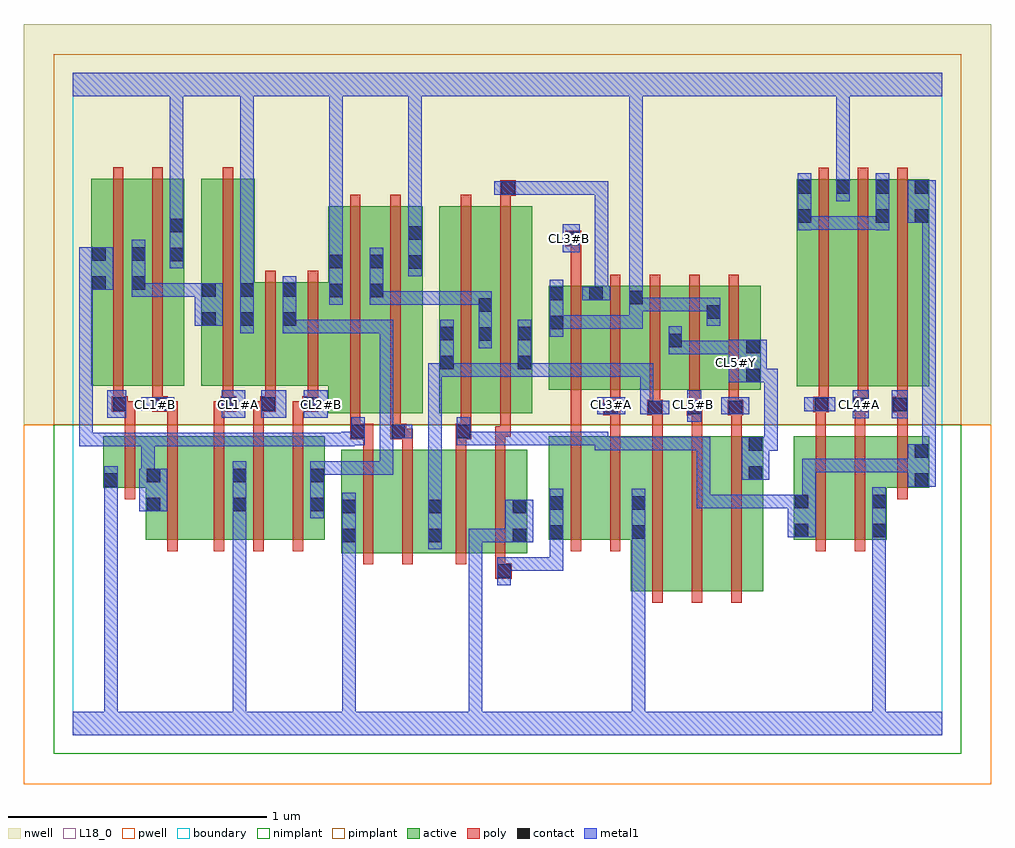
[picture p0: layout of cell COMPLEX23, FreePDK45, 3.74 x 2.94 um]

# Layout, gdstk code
import gdstk
lib = gdstk.Library(unit=1e-6, precision=1e-09)
def R(c, l, rs):  # rectangles x0, y0, x1, y1
    for r in rs: c.add(gdstk.rectangle(r[:2], r[2:], *l))
def A(c, l, x, y, w, h, nx, ny, dx, dy):  # array of equal rectangles
    R(c, l, [(x+i*dx, y+j*dy, x+i*dx+w, y+j*dy+h) for i in range(nx) for j in range(ny)])
active = (1, 0)
pwell = (2, 0)
nwell = (3, 0)
nimplant = (4, 0)
pimplant = (5, 0)
poly = (9, 0)
contact = (10, 0)
metal1 = (11, 0)
L18_0 = (18, 0)
boundary = (235, 0)

complex23 = lib.new_cell('COMPLEX23')
R(complex23, active, [(2.156,0.556,2.336,1.156), (2.156,0.556,2.216,0.928), (2.336,0.556,2.488,1.156), (2.488,0.556,2.668,1.156), (2.608,0.556,2.668,1.156), (1.038,0.704,1.218,1.104), (1.038,0.704,1.098,1.104), (1.218,0.704,1.43,1.104), (1.37,0.704,1.43,1.104), (1.37,0.704,1.576,1.104), (1.576,0.704,1.756,1.104), (1.696,0.742,1.756,1.104), (0.282,0.756,0.462,1.156), (0.462,0.756,0.674,1.156), (0.614,0.756,0.794,1.156), (0.614,0.756,0.674,1.156), (0.794,0.756,0.974,1.156), (0.914,0.756,0.974,1.156), (1.84,0.756,2.02,1.156), (1.84,0.756,1.9,1.156), (2.02,0.756,2.216,1.156), (2.786,0.756,2.966,1.156), (2.786,0.756,2.846,1.156), (2.966,0.756,3.146,1.156), (3.086,0.762,3.146,0.956), (0.282,0.862,0.342,1.156), (0.118,0.956,0.178,1.156), (0.118,0.956,0.342,1.156), (3.086,0.956,3.31,1.156), (3.25,0.956,3.31,1.156), (0.988,1.244,1.204,2.044), (1.144,1.244,1.352,2.044), (1.416,1.244,1.476,2.044), (1.416,1.244,1.624,2.044), (1.564,1.244,1.624,2.044), (1.564,1.244,1.776,2.044), (1.716,1.244,1.776,2.044), (1.84,1.336,1.9,1.736), (1.84,1.336,2.052,1.736), (1.992,1.336,2.052,1.736), (1.992,1.336,2.206,1.736), (2.146,1.336,2.206,1.736), (2.146,1.336,2.358,1.736), (2.298,1.336,2.358,1.644), (2.298,1.336,2.506,1.736), (2.446,1.336,2.658,1.736), (2.598,1.336,2.658,1.644), (2.798,1.348,2.858,2.148), (2.798,1.348,3.006,2.148), (2.946,1.348,3.158,2.148), (3.098,1.348,3.31,2.148), (3.25,1.348,3.31,2.148), (0.072,1.35,0.284,2.15), (0.072,1.35,0.132,2.044), (0.224,1.35,0.432,2.15), (0.372,1.35,0.432,2.044), (0.496,1.35,0.704,2.15), (0.496,1.35,0.556,2.044), (0.644,1.35,0.868,1.75), (0.808,1.35,0.868,1.75), (0.808,1.35,1.048,1.75), (1.292,1.452,1.352,2.044), (0.644,1.578,0.704,1.75), (2.446,1.606,2.506,1.666), (0.224,1.686,0.284,2.044), (1.144,1.686,1.204,2.044), (2.946,1.686,3.006,2.148), (3.098,1.686,3.158,2.148), (0.988,1.688,1.048,1.86)])
R(complex23, pwell, [(-0.188,-0.188,3.548,1.2)])
R(complex23, nwell, [(-0.188,1.2,3.548,2.748)])
R(complex23, nimplant, [(-0.072,-0.072,3.432,1.2)])
R(complex23, pimplant, [(-0.072,1.2,3.432,2.632)])
A(complex23, poly, 2.24, 0.512, 0.04, 0.688, 3, 1, 0.152, 0)
A(complex23, poly, 0.546, 0.712, 0.04, 0.488, 3, 1, 0.152, 0)
A(complex23, poly, 0.546, 1.16, 0.04, 0.13, 3, 1, 0.152, 0)
A(complex23, poly, 2.24, 1.16, 0.04, 0.116, 3, 1, 0.152, 0)
A(complex23, poly, 2.862, 1.248, 0.06, 0.06, 3, 1, 0.152, 0)
A(complex23, poly, 2.23, 1.256, 0.04, 0.076, 3, 1, 0.152, 0)
A(complex23, poly, 2.882, 1.268, 0.04, 0.076, 3, 1, 0.152, 0)
A(complex23, poly, 0.58, 1.27, 0.04, 0.076, 3, 1, 0.164, 0)
A(complex23, poly, 2.23, 1.292, 0.04, 0.488, 3, 1, 0.152, 0)
A(complex23, poly, 2.882, 1.304, 0.04, 0.888, 3, 1, 0.152, 0)
R(complex23, poly, [(1.632,0.604,1.696,0.664), (1.632,0.624,1.672,0.7), (1.122,0.66,1.162,1.148), (1.274,0.66,1.314,1.148), (1.48,0.66,1.52,1.148), (1.632,0.66,1.672,1.148), (0.366,0.712,0.406,1.2), (1.924,0.712,1.964,1.2), (2.076,0.712,2.116,1.2), (2.87,0.712,2.91,1.2), (3.022,0.712,3.062,1.2), (0.202,0.912,0.242,1.2), (3.186,0.912,3.226,1.2), (1.122,1.108,1.162,1.184), (1.274,1.108,1.314,1.184), (1.48,1.108,1.52,1.184), (1.632,1.108,1.672,1.194), (1.072,1.144,1.162,1.204), (1.228,1.144,1.288,1.204), (1.248,1.144,1.288,1.184), (1.248,1.144,1.314,1.184), (1.48,1.144,1.54,1.204), (1.632,1.154,1.672,1.194), (1.632,1.154,1.672,1.194), (1.632,1.154,1.692,1.194), (1.652,1.154,1.692,1.24), (0.202,1.16,0.242,1.29), (0.366,1.16,0.406,1.29), (1.924,1.16,1.964,1.288), (2.076,1.16,2.116,1.276), (2.87,1.16,2.91,1.288), (3.022,1.16,3.062,1.288), (3.186,1.16,3.226,1.288), (1.072,1.164,1.112,1.24), (1.072,1.164,1.112,1.204), (1.072,1.164,1.112,1.204), (1.228,1.164,1.268,1.24), (1.5,1.164,1.54,1.24), (1.5,1.164,1.54,1.204), (1.5,1.164,1.54,1.204), (1.072,1.2,1.112,2.088), (1.228,1.2,1.268,2.088), (1.5,1.2,1.54,2.088), (1.652,1.2,1.692,2.088), (2.05,1.236,2.116,1.296), (2.076,1.236,2.116,1.276), (2.076,1.236,2.116,1.276), (2.22,1.236,2.28,1.296), (2.24,1.236,2.28,1.276), (2.24,1.236,2.28,1.276), (2.372,1.236,2.432,1.296), (2.392,1.236,2.432,1.276), (2.392,1.236,2.432,1.276), (2.53,1.236,2.59,1.296), (2.544,1.236,2.584,1.276), (2.544,1.236,2.584,1.276), (1.924,1.248,1.964,1.288), (1.924,1.248,1.964,1.288), (1.924,1.248,1.964,1.288), (1.924,1.248,1.964,1.332), (2.87,1.248,2.91,1.288), (2.87,1.248,2.91,1.288), (3.022,1.248,3.062,1.288), (3.022,1.248,3.062,1.288), (3.186,1.248,3.226,1.288), (3.186,1.248,3.226,1.288), (0.152,1.25,0.212,1.31), (0.172,1.25,0.212,1.29), (0.172,1.25,0.242,1.29), (0.308,1.25,0.368,1.31), (0.328,1.25,0.368,1.29), (0.328,1.25,0.406,1.29), (0.546,1.25,0.612,1.29), (0.572,1.25,0.612,1.29), (0.572,1.25,0.632,1.31), (0.698,1.25,0.764,1.29), (0.724,1.25,0.764,1.29), (0.724,1.25,0.784,1.31), (0.85,1.25,0.928,1.29), (0.888,1.25,0.928,1.29), (0.888,1.25,0.948,1.31), (2.076,1.256,2.116,1.332), (0.156,1.27,0.196,1.346), (0.308,1.27,0.348,1.346), (1.924,1.292,1.964,1.78), (2.076,1.292,2.116,1.78), (0.156,1.306,0.196,2.194), (0.308,1.306,0.348,2.194), (0.58,1.306,0.62,2.194), (0.744,1.306,0.784,1.794), (0.908,1.306,0.948,1.794), (1.924,1.74,1.964,1.93), (1.904,1.89,1.964,1.95), (1.652,2.048,1.692,2.124), (1.652,2.084,1.712,2.144)])
A(complex23, contact, 2.866, 1.252, 0.052, 0.052, 3, 1, 0.152, 0)
A(complex23, contact, 2.95, 2.092, 0.052, 0.052, 3, 1, 0.152, 0)
R(complex23, contact, [(1.64,0.608,1.692,0.66), (1.042,0.746,1.094,0.798), (1.374,0.746,1.426,0.798), (1.7,0.746,1.752,0.798), (1.844,0.76,1.896,0.812), (2.16,0.76,2.212,0.812), (2.79,0.766,2.842,0.818), (3.09,0.766,3.142,0.818), (1.042,0.858,1.094,0.91), (1.374,0.858,1.426,0.91), (1.7,0.858,1.752,0.91), (0.286,0.866,0.338,0.918), (0.618,0.866,0.67,0.918), (0.918,0.866,0.97,0.918), (1.844,0.872,1.896,0.924), (2.16,0.872,2.212,0.924), (2.79,0.878,2.842,0.93), (3.09,0.878,3.142,0.93), (0.122,0.96,0.174,1.012), (3.254,0.96,3.306,1.012), (0.286,0.978,0.338,1.03), (0.618,0.978,0.67,1.03), (0.918,0.978,0.97,1.03), (2.612,0.988,2.664,1.04), (3.254,1.072,3.306,1.124), (2.612,1.1,2.664,1.152), (1.076,1.148,1.128,1.2), (1.232,1.148,1.284,1.2), (1.484,1.148,1.536,1.2), (2.054,1.24,2.106,1.292), (2.224,1.24,2.276,1.292), (2.376,1.24,2.428,1.292), (2.534,1.24,2.586,1.292), (0.156,1.254,0.208,1.306), (0.312,1.254,0.364,1.306), (0.576,1.254,0.628,1.306), (0.728,1.254,0.78,1.306), (0.892,1.254,0.944,1.306), (2.602,1.364,2.654,1.416), (1.42,1.414,1.472,1.466), (1.72,1.414,1.772,1.466), (2.602,1.476,2.654,1.528), (2.302,1.5,2.354,1.552), (1.568,1.524,1.62,1.576), (1.42,1.526,1.472,1.578), (1.72,1.526,1.772,1.578), (1.844,1.568,1.896,1.62), (0.5,1.582,0.552,1.634), (0.648,1.582,0.7,1.634), (0.812,1.582,0.864,1.634), (2.45,1.61,2.502,1.662), (1.568,1.636,1.62,1.688), (2.15,1.666,2.202,1.718), (1.844,1.68,1.896,1.732), (1.996,1.68,2.048,1.732), (0.992,1.692,1.044,1.744), (1.148,1.692,1.2,1.744), (0.5,1.694,0.552,1.746), (0.648,1.694,0.7,1.746), (0.812,1.694,0.864,1.746), (0.076,1.722,0.128,1.774), (0.228,1.722,0.28,1.774), (1.296,1.802,1.348,1.854), (0.992,1.804,1.044,1.856), (1.148,1.804,1.2,1.856), (0.376,1.832,0.428,1.884), (0.076,1.834,0.128,1.886), (0.228,1.834,0.28,1.886), (1.908,1.894,1.96,1.946), (1.296,1.914,1.348,1.966), (0.376,1.944,0.428,1.996), (2.802,1.98,2.854,2.032), (3.102,1.98,3.154,2.032), (3.254,1.98,3.306,2.032), (1.656,2.088,1.708,2.14), (2.802,2.092,2.854,2.144)])
A(complex23, metal1, 0.588, 1.116, 0.052, 0.052, 3, 1, 0.11, 0)
A(complex23, metal1, 0.966, 1.554, 0.052, 0.052, 3, 1, 0.11, 0)
R(complex23, metal1, [(0,0,3.36,0.092), (0.122,0.04,0.174,0.092), (0.122,0.04,0.174,0.092), (0.122,0.04,0.174,0.092), (0.122,0.04,0.174,0.092), (0.122,0.04,0.174,0.092), (0.122,0.04,0.174,0.092), (0.122,0.04,0.174,0.092), (0.122,0.04,0.174,0.092), (0.122,0.04,0.174,0.092), (0.122,0.04,0.174,0.092), (0.122,0.04,0.174,0.092), (0.122,0.04,0.174,0.092), (0.122,0.04,0.174,0.092), (0.122,0.04,0.174,0.092), (0.122,0.04,0.174,0.984), (0.618,0.04,0.67,0.092), (0.618,0.04,0.67,0.092), (0.618,0.04,0.67,0.092), (0.618,0.04,0.67,0.092), (0.618,0.04,0.67,0.092), (0.618,0.04,0.67,0.092), (0.618,0.04,0.67,0.092), (0.618,0.04,0.67,0.092), (0.618,0.04,0.67,0.092), (0.618,0.04,0.67,0.092), (0.618,0.04,0.67,0.89), (1.042,0.04,1.094,0.092), (1.042,0.04,1.094,0.092), (1.042,0.04,1.094,0.092), (1.042,0.04,1.094,0.092), (1.042,0.04,1.094,0.092), (1.042,0.04,1.094,0.092), (1.042,0.04,1.094,0.092), (1.042,0.04,1.094,0.092), (1.042,0.04,1.094,0.77), (1.53,0.04,1.582,0.092), (1.53,0.04,1.582,0.092), (1.53,0.04,1.582,0.092), (1.53,0.04,1.582,0.092), (1.53,0.04,1.582,0.092), (1.53,0.04,1.582,0.092), (1.53,0.04,1.582,0.092), (1.53,0.04,1.582,0.092), (1.53,0.04,1.582,0.798), (2.16,0.04,2.212,0.092), (2.16,0.04,2.212,0.092), (2.16,0.04,2.212,0.092), (2.16,0.04,2.212,0.092), (2.16,0.04,2.212,0.784), (3.09,0.04,3.142,0.092), (3.09,0.04,3.142,0.092), (3.09,0.04,3.142,0.092), (3.09,0.04,3.142,0.092), (3.09,0.04,3.142,0.092), (3.09,0.04,3.142,0.092), (3.09,0.04,3.142,0.092), (3.09,0.04,3.142,0.092), (3.09,0.04,3.142,0.092), (3.09,0.04,3.142,0.092), (3.09,0.04,3.142,0.092), (3.09,0.04,3.142,0.092), (3.09,0.04,3.142,0.79), (1.64,0.58,1.692,0.688), (1.64,0.636,1.692,0.688), (1.64,0.636,1.692,0.688), (1.64,0.636,1.896,0.688), (1.844,0.636,1.896,0.688), (1.844,0.636,1.896,0.784), (1.042,0.718,1.094,0.77), (1.042,0.718,1.094,0.77), (1.042,0.718,1.094,0.77), (1.042,0.718,1.094,0.77), (1.042,0.718,1.094,0.938), (1.374,0.718,1.426,0.938), (1.844,0.732,1.896,0.952), (2.16,0.732,2.212,0.784), (2.16,0.732,2.212,0.784), (2.16,0.732,2.212,0.784), (2.16,0.732,2.212,0.784), (2.16,0.732,2.212,0.952), (3.09,0.738,3.142,0.958), (1.53,0.746,1.582,0.798), (1.53,0.746,1.582,0.798), (1.53,0.746,1.582,0.798), (1.53,0.746,1.582,0.798), (1.53,0.746,1.582,0.798), (1.53,0.746,1.724,0.798), (1.672,0.746,1.78,0.91), (1.672,0.746,1.724,0.798), (1.672,0.746,1.724,0.798), (2.762,0.766,2.87,0.93), (0.618,0.838,0.67,0.89), (0.618,0.838,0.67,0.89), (0.618,0.838,0.67,1.058), (0.918,0.838,0.97,1.058), (0.258,0.866,0.366,1.03), (2.412,0.878,2.464,0.93), (2.412,0.878,2.464,0.93), (2.412,0.878,2.464,0.93), (2.412,0.878,2.744,0.93), (2.412,0.878,2.464,1.154), (2.692,0.878,2.744,0.93), (2.692,0.878,2.814,0.93), (2.818,0.878,2.87,1.068), (1.374,0.886,1.426,1.438), (0.122,0.932,0.174,0.984), (0.122,0.932,0.174,0.984), (0.122,0.932,0.174,1.04), (3.226,0.96,3.334,1.124), (0.266,0.978,0.318,1.168), (2.584,0.988,2.692,1.152), (0.918,1.006,0.974,1.058), (0.922,1.006,0.974,1.058), (0.922,1.006,1.128,1.058), (1.076,1.006,1.128,1.058), (1.076,1.006,1.238,1.058), (1.186,1.006,1.238,1.058), (1.186,1.006,1.238,1.2), (2.818,1.016,2.87,1.068), (2.818,1.016,2.87,1.068), (2.818,1.016,2.87,1.068), (2.818,1.016,3.032,1.068), (2.98,1.016,3.032,1.068), (2.98,1.016,3.032,1.068), (2.98,1.016,3.032,1.068), (2.98,1.016,3.142,1.068), (3.09,1.016,3.142,1.068), (3.09,1.016,3.142,1.068), (3.09,1.016,3.142,1.068), (3.09,1.016,3.278,1.068), (3.282,1.072,3.334,2.032), (3.282,1.072,3.334,1.124), (3.282,1.072,3.334,1.124), (3.282,1.072,3.334,1.124), (3.282,1.072,3.334,1.124), (2.64,1.1,2.692,1.152), (2.64,1.1,2.724,1.152), (2.672,1.1,2.724,1.152), (2.672,1.1,2.724,1.152), (2.672,1.1,2.724,1.416), (2.018,1.102,2.07,1.154), (2.018,1.102,2.07,1.154), (2.018,1.102,2.07,1.154), (2.018,1.102,2.244,1.154), (2.018,1.102,2.07,1.172), (2.192,1.102,2.244,1.154), (2.192,1.102,2.244,1.154), (2.192,1.102,2.244,1.154), (2.192,1.102,2.354,1.154), (2.302,1.102,2.354,1.154), (2.302,1.102,2.354,1.154), (2.302,1.102,2.354,1.154), (2.302,1.102,2.464,1.154), (2.412,1.102,2.464,1.154), (0.026,1.116,0.078,1.168), (0.026,1.116,0.078,1.168), (0.026,1.116,0.078,1.168), (0.026,1.116,0.318,1.168), (0.026,1.116,0.078,1.774), (0.266,1.116,0.318,1.168), (0.266,1.116,0.318,1.168), (0.266,1.116,0.318,1.168), (0.266,1.116,0.444,1.168), (0.392,1.116,0.444,1.168), (0.392,1.116,0.444,1.168), (0.392,1.116,0.444,1.168), (0.392,1.116,0.64,1.168), (0.588,1.116,0.64,1.168), (0.588,1.116,0.64,1.168), (0.588,1.116,0.75,1.168), (0.698,1.116,0.86,1.168), (0.808,1.116,0.86,1.168), (0.808,1.116,0.86,1.168), (0.808,1.116,1.018,1.168), (0.966,1.116,1.018,1.168), (0.966,1.116,1.09,1.168), (1.038,1.116,1.09,1.172), (1.038,1.12,1.128,1.172), (1.076,1.12,1.128,1.228), (1.484,1.12,1.536,1.228), (1.484,1.12,1.582,1.172), (1.53,1.12,1.582,1.172), (1.53,1.12,1.78,1.172), (1.728,1.12,1.78,1.172), (1.728,1.12,1.78,1.172), (1.728,1.12,1.78,1.172), (1.728,1.12,1.89,1.172), (1.838,1.12,1.89,1.172), (1.838,1.12,1.89,1.172), (1.838,1.12,1.89,1.172), (1.838,1.12,2.07,1.172), (2.018,1.12,2.07,1.172), (1.186,1.148,1.238,1.2), (1.186,1.148,1.238,1.2), (1.186,1.148,1.238,1.2), (1.186,1.148,1.256,1.2), (1.186,1.148,1.238,1.606), (1.204,1.148,1.312,1.2), (2.374,1.212,2.428,1.334), (3.014,1.224,3.076,1.334), (3.164,1.224,3.226,1.334), (0.134,1.226,0.208,1.334), (0.576,1.226,0.666,1.334), (0.728,1.226,0.826,1.334), (0.892,1.226,0.986,1.334), (2.026,1.24,2.134,1.306), (2.192,1.24,2.244,1.292), (2.192,1.24,2.248,1.292), (2.192,1.24,2.244,1.438), (2.196,1.24,2.304,1.292), (2.506,1.24,2.614,1.306), (2.826,1.252,2.946,1.306), (0.266,1.254,0.392,1.306), (2.534,1.364,2.682,1.528), (2.63,1.364,2.682,1.416), (2.63,1.364,2.724,1.416), (1.374,1.386,1.426,1.438), (1.374,1.386,1.426,1.438), (1.374,1.386,1.472,1.438), (1.42,1.386,1.472,1.438), (1.42,1.386,1.472,1.438), (1.42,1.386,1.472,1.438), (1.42,1.386,1.472,1.606), (1.42,1.386,1.582,1.438), (1.53,1.386,1.582,1.438), (1.53,1.386,1.772,1.438), (1.72,1.386,1.772,1.438), (1.72,1.386,1.772,1.438), (1.72,1.386,1.772,1.606), (1.72,1.386,1.91,1.438), (1.858,1.386,1.91,1.438), (1.858,1.386,1.91,1.438), (1.858,1.386,1.91,1.438), (1.858,1.386,2.092,1.438), (2.04,1.386,2.092,1.438), (2.04,1.386,2.092,1.438), (2.04,1.386,2.092,1.438), (2.04,1.386,2.244,1.438), (2.192,1.386,2.244,1.438), (2.302,1.472,2.354,1.524), (2.302,1.472,2.354,1.524), (2.302,1.472,2.476,1.524), (2.302,1.472,2.354,1.58), (2.424,1.472,2.476,1.524), (2.424,1.472,2.476,1.524), (2.424,1.472,2.476,1.524), (2.424,1.472,2.586,1.524), (1.568,1.496,1.62,1.716), (1.844,1.54,1.896,1.76), (0.648,1.554,0.7,1.774), (0.812,1.554,0.864,1.606), (0.812,1.554,0.864,1.606), (0.812,1.554,0.864,1.774), (0.812,1.554,1.018,1.606), (0.966,1.554,1.018,1.606), (0.966,1.554,1.018,1.606), (0.966,1.554,1.128,1.606), (1.076,1.554,1.238,1.606), (1.844,1.57,1.896,1.622), (1.844,1.57,1.896,1.622), (1.844,1.57,2.092,1.622), (2.04,1.57,2.092,1.622), (2.04,1.57,2.092,1.622), (2.04,1.57,2.092,1.622), (2.04,1.57,2.202,1.622), (2.15,1.57,2.202,1.69), (0.472,1.582,0.58,1.746), (2.45,1.582,2.502,1.69), (2.15,1.638,2.202,1.69), (2.15,1.638,2.202,1.746), (2.15,1.638,2.244,1.69), (2.192,1.638,2.244,1.69), (2.192,1.638,2.354,1.69), (2.302,1.638,2.354,1.69), (2.302,1.638,2.354,1.69), (2.302,1.638,2.354,1.69), (2.302,1.638,2.502,1.69), (0.992,1.664,1.044,1.884), (1.148,1.664,1.2,1.884), (1.148,1.664,1.268,1.716), (1.216,1.664,1.268,1.716), (1.216,1.664,1.348,1.716), (1.296,1.664,1.348,1.716), (1.296,1.664,1.472,1.716), (1.42,1.664,1.472,1.716), (1.42,1.664,1.472,1.716), (1.42,1.664,1.472,1.716), (1.42,1.664,1.62,1.716), (1.968,1.68,2.076,1.732), (2.018,1.68,2.07,2.14), (0.228,1.694,0.28,1.746), (0.228,1.694,0.28,1.746), (0.228,1.694,0.28,1.914), (0.228,1.694,0.518,1.746), (0.466,1.694,0.518,1.746), (0.466,1.694,0.524,1.746), (2.15,1.694,2.202,1.746), (2.15,1.694,2.202,1.746), (2.15,1.694,2.202,1.746), (2.15,1.694,2.202,1.746), (2.15,1.694,2.202,1.746), (2.15,1.694,2.202,1.746), (2.15,1.694,2.202,1.746), (2.15,1.694,2.202,1.746), (2.15,1.694,2.202,2.52), (0.026,1.722,0.078,1.774), (0.026,1.722,0.078,1.774), (0.026,1.722,0.156,1.886), (0.648,1.722,0.7,1.774), (0.648,1.722,0.7,1.774), (0.648,1.722,0.7,2.52), (1.296,1.774,1.348,1.994), (0.376,1.804,0.428,2.024), (0.992,1.832,1.044,1.884), (0.992,1.832,1.044,1.884), (0.992,1.832,1.044,2.52), (1.894,1.866,1.96,1.974), (1.296,1.942,1.348,2.52), (2.802,1.952,2.854,2.172), (3.102,1.952,3.154,2.172), (2.802,1.954,2.854,2.006), (2.802,1.954,2.854,2.006), (2.802,1.954,3.032,2.006), (2.98,1.954,3.032,2.006), (2.98,1.954,3.032,2.006), (2.98,1.954,3.032,2.006), (2.98,1.954,3.154,2.006), (0.376,1.972,0.428,2.024), (0.376,1.972,0.428,2.024), (0.376,1.972,0.428,2.024), (0.376,1.972,0.428,2.024), (0.376,1.972,0.428,2.52), (3.226,1.98,3.334,2.144), (2.95,2.064,3.002,2.172), (1.628,2.088,1.736,2.14), (1.684,2.088,1.736,2.14), (1.684,2.088,1.736,2.14), (1.684,2.088,1.736,2.14), (1.684,2.088,1.736,2.14), (1.684,2.088,1.89,2.14), (1.838,2.088,1.89,2.14), (1.838,2.088,1.89,2.14), (1.838,2.088,1.89,2.14), (1.838,2.088,2.07,2.14), (2.018,2.088,2.07,2.14), (2.018,2.088,2.07,2.14), (2.018,2.088,2.07,2.14), (2.018,2.088,2.07,2.14), (2.018,2.088,2.07,2.14), (2.018,2.088,2.07,2.14), (2.018,2.088,2.07,2.14), (2.95,2.12,3.002,2.52), (0,2.468,3.36,2.56), (0.376,2.468,0.428,2.52), (0.376,2.468,0.428,2.52), (0.376,2.468,0.428,2.52), (0.376,2.468,0.428,2.52), (0.648,2.468,0.7,2.52), (0.648,2.468,0.7,2.52), (0.648,2.468,0.7,2.52), (0.648,2.468,0.7,2.52), (0.648,2.468,0.7,2.52), (0.648,2.468,0.7,2.52), (0.992,2.468,1.044,2.52), (0.992,2.468,1.044,2.52), (0.992,2.468,1.044,2.52), (0.992,2.468,1.044,2.52), (0.992,2.468,1.044,2.52), (0.992,2.468,1.044,2.52), (1.296,2.468,1.348,2.52), (1.296,2.468,1.348,2.52), (1.296,2.468,1.348,2.52), (1.296,2.468,1.348,2.52), (1.296,2.468,1.348,2.52), (1.296,2.468,1.348,2.52), (1.296,2.468,1.348,2.52), (1.296,2.468,1.348,2.52), (2.15,2.468,2.202,2.52), (2.15,2.468,2.202,2.52), (2.15,2.468,2.202,2.52), (2.15,2.468,2.202,2.52), (2.15,2.468,2.202,2.52), (2.15,2.468,2.202,2.52), (2.15,2.468,2.202,2.52), (2.15,2.468,2.202,2.52), (2.95,2.468,3.002,2.52), (2.95,2.468,3.002,2.52), (2.95,2.468,3.002,2.52), (2.95,2.468,3.002,2.52), (2.95,2.468,3.002,2.52), (2.95,2.468,3.002,2.52), (2.95,2.468,3.002,2.52), (2.95,2.468,3.002,2.52)])
A(complex23, L18_0, 0.614, 1.254, 0.052, 0.052, 3, 1, 0.16, 0)
A(complex23, L18_0, 2.854, 1.254, 0.052, 0.052, 3, 1, 0.16, 0)
R(complex23, L18_0, [(0,0,3.36,0.092), (0.122,0.04,0.174,0.092), (0.122,0.04,0.174,0.092), (0.122,0.04,0.174,0.092), (0.122,0.04,0.174,0.092), (0.122,0.04,0.174,0.092), (0.122,0.04,0.174,0.092), (0.122,0.04,0.174,0.092), (0.122,0.04,0.174,0.092), (0.122,0.04,0.174,0.092), (0.122,0.04,0.174,0.092), (0.122,0.04,0.174,0.092), (0.122,0.04,0.174,0.092), (0.122,0.04,0.174,0.092), (0.122,0.04,0.174,0.092), (0.122,0.04,0.174,0.984), (0.618,0.04,0.67,0.092), (0.618,0.04,0.67,0.092), (0.618,0.04,0.67,0.092), (0.618,0.04,0.67,0.092), (0.618,0.04,0.67,0.092), (0.618,0.04,0.67,0.092), (0.618,0.04,0.67,0.092), (0.618,0.04,0.67,0.092), (0.618,0.04,0.67,0.092), (0.618,0.04,0.67,0.092), (0.618,0.04,0.67,0.89), (1.042,0.04,1.094,0.092), (1.042,0.04,1.094,0.092), (1.042,0.04,1.094,0.092), (1.042,0.04,1.094,0.092), (1.042,0.04,1.094,0.092), (1.042,0.04,1.094,0.092), (1.042,0.04,1.094,0.092), (1.042,0.04,1.094,0.092), (1.042,0.04,1.094,0.77), (1.53,0.04,1.582,0.092), (1.53,0.04,1.582,0.092), (1.53,0.04,1.582,0.092), (1.53,0.04,1.582,0.092), (1.53,0.04,1.582,0.092), (1.53,0.04,1.582,0.092), (1.53,0.04,1.582,0.092), (1.53,0.04,1.582,0.092), (1.53,0.04,1.582,0.798), (2.16,0.04,2.212,0.092), (2.16,0.04,2.212,0.092), (2.16,0.04,2.212,0.092), (2.16,0.04,2.212,0.092), (2.16,0.04,2.212,0.784), (3.09,0.04,3.142,0.092), (3.09,0.04,3.142,0.092), (3.09,0.04,3.142,0.092), (3.09,0.04,3.142,0.092), (3.09,0.04,3.142,0.092), (3.09,0.04,3.142,0.092), (3.09,0.04,3.142,0.092), (3.09,0.04,3.142,0.092), (3.09,0.04,3.142,0.092), (3.09,0.04,3.142,0.092), (3.09,0.04,3.142,0.092), (3.09,0.04,3.142,0.092), (3.09,0.04,3.142,0.79), (1.042,0.718,1.094,0.77), (1.042,0.718,1.094,0.77), (1.042,0.718,1.094,0.77), (1.042,0.718,1.094,0.77), (1.042,0.718,1.094,0.938), (2.16,0.732,2.212,0.784), (2.16,0.732,2.212,0.784), (2.16,0.732,2.212,0.784), (2.16,0.732,2.212,0.784), (2.16,0.732,2.212,0.952), (3.09,0.738,3.142,0.958), (1.53,0.746,1.582,0.798), (1.53,0.746,1.582,0.798), (1.53,0.746,1.582,0.798), (1.53,0.746,1.582,0.798), (1.53,0.746,1.582,0.798), (1.53,0.746,1.724,0.798), (1.672,0.746,1.724,0.798), (1.672,0.746,1.724,0.798), (1.672,0.746,1.78,0.91), (0.618,0.838,0.67,0.89), (0.618,0.838,0.67,0.89), (0.618,0.838,0.67,1.058), (0.122,0.932,0.174,0.984), (0.122,0.932,0.174,0.984), (0.122,0.932,0.174,1.04), (2.584,0.988,2.692,1.152), (2.64,1.1,2.692,1.152), (2.64,1.1,2.724,1.152), (2.672,1.1,2.724,1.152), (2.672,1.1,2.724,1.152), (2.672,1.1,2.724,1.416), (2.374,1.212,2.428,1.334), (3.014,1.224,3.076,1.334), (3.164,1.224,3.226,1.334), (0.134,1.226,0.208,1.334), (0.576,1.226,0.666,1.334), (0.728,1.226,0.826,1.334), (0.892,1.226,0.986,1.334), (2.026,1.24,2.134,1.306), (2.506,1.24,2.614,1.306), (2.826,1.252,2.946,1.306), (0.134,1.254,0.186,1.306), (0.266,1.254,0.392,1.306), (0.294,1.254,0.346,1.306), (2.054,1.254,2.106,1.306), (2.374,1.254,2.426,1.306), (2.534,1.254,2.586,1.306), (2.534,1.364,2.682,1.528), (2.63,1.364,2.682,1.416), (2.63,1.364,2.724,1.416), (2.534,1.414,2.586,1.466), (2.302,1.472,2.354,1.524), (2.302,1.472,2.354,1.524), (2.302,1.472,2.354,1.58), (2.302,1.472,2.476,1.524), (2.424,1.472,2.476,1.524), (2.424,1.472,2.476,1.524), (2.424,1.472,2.476,1.524), (2.424,1.472,2.586,1.524), (1.844,1.54,1.896,1.76), (0.648,1.554,0.7,1.774), (1.844,1.57,1.896,1.622), (1.844,1.57,1.896,1.622), (1.844,1.57,2.092,1.622), (2.04,1.57,2.092,1.622), (2.04,1.57,2.092,1.622), (2.04,1.57,2.092,1.622), (2.04,1.57,2.202,1.622), (2.15,1.57,2.202,1.69), (2.45,1.582,2.502,1.69), (2.15,1.638,2.202,1.69), (2.15,1.638,2.202,1.746), (2.15,1.638,2.244,1.69), (2.192,1.638,2.244,1.69), (2.192,1.638,2.354,1.69), (2.302,1.638,2.354,1.69), (2.302,1.638,2.354,1.69), (2.302,1.638,2.354,1.69), (2.302,1.638,2.502,1.69), (0.992,1.664,1.044,1.884), (2.15,1.694,2.202,1.746), (2.15,1.694,2.202,1.746), (2.15,1.694,2.202,1.746), (2.15,1.694,2.202,1.746), (2.15,1.694,2.202,1.746), (2.15,1.694,2.202,1.746), (2.15,1.694,2.202,1.746), (2.15,1.694,2.202,1.746), (2.15,1.694,2.202,2.52), (0.648,1.722,0.7,1.774), (0.648,1.722,0.7,1.774), (0.648,1.722,0.7,2.52), (1.296,1.774,1.348,1.994), (0.376,1.804,0.428,2.024), (0.992,1.832,1.044,1.884), (0.992,1.832,1.044,1.884), (0.992,1.832,1.044,2.52), (1.894,1.866,1.96,1.974), (1.894,1.894,1.946,1.946), (1.296,1.942,1.348,2.52), (0.376,1.972,0.428,2.024), (0.376,1.972,0.428,2.024), (0.376,1.972,0.428,2.024), (0.376,1.972,0.428,2.024), (0.376,1.972,0.428,2.52), (2.95,2.064,3.002,2.172), (2.95,2.12,3.002,2.52), (0,2.468,3.36,2.56), (0.376,2.468,0.428,2.52), (0.376,2.468,0.428,2.52), (0.376,2.468,0.428,2.52), (0.376,2.468,0.428,2.52), (0.648,2.468,0.7,2.52), (0.648,2.468,0.7,2.52), (0.648,2.468,0.7,2.52), (0.648,2.468,0.7,2.52), (0.648,2.468,0.7,2.52), (0.648,2.468,0.7,2.52), (0.992,2.468,1.044,2.52), (0.992,2.468,1.044,2.52), (0.992,2.468,1.044,2.52), (0.992,2.468,1.044,2.52), (0.992,2.468,1.044,2.52), (0.992,2.468,1.044,2.52), (1.296,2.468,1.348,2.52), (1.296,2.468,1.348,2.52), (1.296,2.468,1.348,2.52), (1.296,2.468,1.348,2.52), (1.296,2.468,1.348,2.52), (1.296,2.468,1.348,2.52), (1.296,2.468,1.348,2.52), (1.296,2.468,1.348,2.52), (2.15,2.468,2.202,2.52), (2.15,2.468,2.202,2.52), (2.15,2.468,2.202,2.52), (2.15,2.468,2.202,2.52), (2.15,2.468,2.202,2.52), (2.15,2.468,2.202,2.52), (2.15,2.468,2.202,2.52), (2.15,2.468,2.202,2.52), (2.95,2.468,3.002,2.52), (2.95,2.468,3.002,2.52), (2.95,2.468,3.002,2.52), (2.95,2.468,3.002,2.52), (2.95,2.468,3.002,2.52), (2.95,2.468,3.002,2.52), (2.95,2.468,3.002,2.52), (2.95,2.468,3.002,2.52)])
R(complex23, boundary, [(0,0,3.36,2.56)])
complex23.add(gdstk.Label('CL1#A', (0.64,1.28), layer=11, texttype=0))
complex23.add(gdstk.Label('CL1#B', (0.32,1.28), layer=11, texttype=0))
complex23.add(gdstk.Label('CL1#C', (0.16,1.28), layer=11, texttype=0))
complex23.add(gdstk.Label('CL2#A', (0.8,1.28), layer=11, texttype=0))
complex23.add(gdstk.Label('CL2#B', (0.96,1.28), layer=11, texttype=0))
complex23.add(gdstk.Label('CL3#A', (2.08,1.28), layer=11, texttype=0))
complex23.add(gdstk.Label('CL3#B', (1.92,1.92), layer=11, texttype=0))
complex23.add(gdstk.Label('CL4#A', (3.04,1.28), layer=11, texttype=0))
complex23.add(gdstk.Label('CL4#B', (2.88,1.28), layer=11, texttype=0))
complex23.add(gdstk.Label('CL4#C', (3.2,1.28), layer=11, texttype=0))
complex23.add(gdstk.Label('CL5#B', (2.4,1.28), layer=11, texttype=0))
complex23.add(gdstk.Label('CL5#C', (2.56,1.28), layer=11, texttype=0))
complex23.add(gdstk.Label('CL5#Y', (2.56,1.44), layer=11, texttype=0))

lib.write_gds('COMPLEX23.gds')
